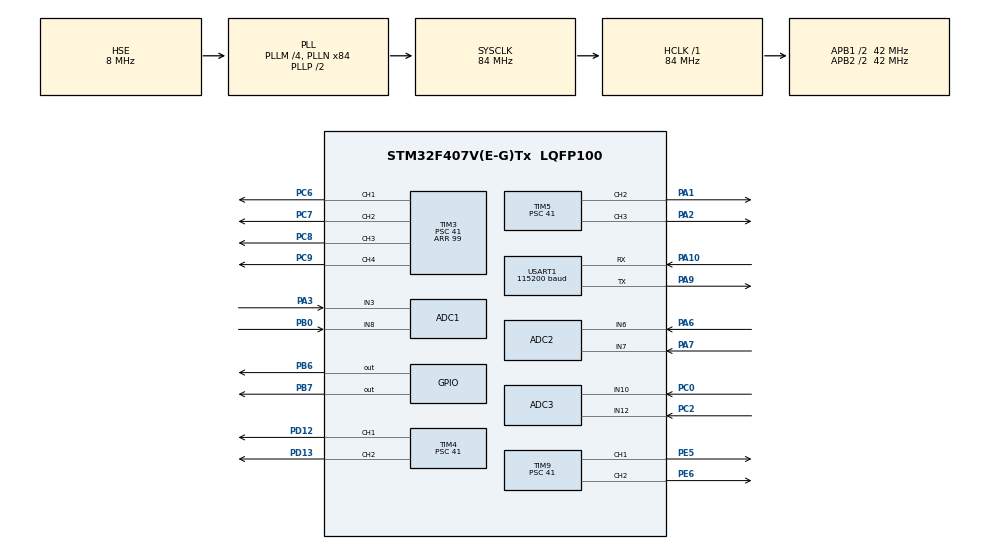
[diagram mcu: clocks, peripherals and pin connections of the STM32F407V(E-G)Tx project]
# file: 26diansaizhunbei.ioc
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ADC1.Channel-0\#ChannelRegularConversion=ADC_CHANNEL_8
ADC1.Channel-1\#ChannelRegularConversion=ADC_CHANNEL_3
ADC1.Channel-2\#ChannelRegularConversion=ADC_CHANNEL_VREFINT
ADC1.DMAContinuousRequests=ENABLE
ADC1.ExternalTrigConv=ADC_EXTERNALTRIGCONV_T2_TRGO
ADC1.InjNumberOfConversion=0
ADC1.NbrOfConversion=3
ADC1.NbrOfConversionFlag=1
ADC1.Rank-0\#ChannelRegularConversion=1
ADC1.Rank-1\#ChannelRegularConversion=2
ADC1.Rank-2\#ChannelRegularConversion=3
ADC1.SamplingTime-0\#ChannelRegularConversion=ADC_SAMPLETIME_15CYCLES
ADC1.SamplingTime-1\#ChannelRegularConversion=ADC_SAMPLETIME_15CYCLES
ADC1.SamplingTime-2\#ChannelRegularConversion=ADC_SAMPLETIME_480CYCLES
ADC1.master=1
ADC2.Channel-0\#ChannelRegularConversion=ADC_CHANNEL_7
ADC2.Channel-1\#ChannelRegularConversion=ADC_CHANNEL_6
ADC2.DMAContinuousRequests=ENABLE
ADC2.ExternalTrigConv=ADC_EXTERNALTRIGCONV_T2_TRGO
ADC2.NbrOfConversion=2
ADC2.NbrOfConversionFlag=1
ADC2.Rank-0\#ChannelRegularConversion=1
ADC2.Rank-1\#ChannelRegularConversion=2
ADC2.SamplingTime-0\#ChannelRegularConversion=ADC_SAMPLETIME_15CYCLES
ADC2.SamplingTime-1\#ChannelRegularConversion=ADC_SAMPLETIME_15CYCLES
ADC3.Channel-0\#ChannelRegularConversion=ADC_CHANNEL_10
ADC3.Channel-1\#ChannelRegularConversion=ADC_CHANNEL_12
ADC3.DMAContinuousRequests=ENABLE
ADC3.ExternalTrigConv=ADC_EXTERNALTRIGCONV_T2_TRGO
ADC3.NbrOfConversion=2
ADC3.NbrOfConversionFlag=1
ADC3.Rank-0\#ChannelRegularConversion=1
ADC3.Rank-1\#ChannelRegularConversion=2
ADC3.SamplingTime-0\#ChannelRegularConversion=ADC_SAMPLETIME_15CYCLES
ADC3.SamplingTime-1\#ChannelRegularConversion=ADC_SAMPLETIME_3CYCLES
Dma.ADC1.0.Direction=DMA_PERIPH_TO_MEMORY
Dma.ADC1.0.FIFOMode=DMA_FIFOMODE_DISABLE
Dma.ADC1.0.Instance=DMA2_Stream0
Dma.ADC1.0.MemDataAlignment=DMA_MDATAALIGN_HALFWORD
Dma.ADC1.0.MemInc=DMA_MINC_ENABLE
Dma.ADC1.0.Mode=DMA_CIRCULAR
Dma.ADC1.0.PeriphDataAlignment=DMA_PDATAALIGN_HALFWORD
Dma.ADC1.0.PeriphInc=DMA_PINC_DISABLE
Dma.ADC1.0.Priority=DMA_PRIORITY_LOW
Dma.ADC2.1.Direction=DMA_PERIPH_TO_MEMORY
Dma.ADC2.1.FIFOMode=DMA_FIFOMODE_DISABLE
Dma.ADC2.1.Instance=DMA2_Stream2
Dma.ADC2.1.MemDataAlignment=DMA_MDATAALIGN_HALFWORD
Dma.ADC2.1.MemInc=DMA_MINC_ENABLE
Dma.ADC2.1.Mode=DMA_CIRCULAR
Dma.ADC2.1.PeriphDataAlignment=DMA_PDATAALIGN_HALFWORD
Dma.ADC2.1.PeriphInc=DMA_PINC_DISABLE
Dma.ADC2.1.Priority=DMA_PRIORITY_LOW
Dma.ADC3.2.Direction=DMA_PERIPH_TO_MEMORY
Dma.ADC3.2.FIFOMode=DMA_FIFOMODE_DISABLE
Dma.ADC3.2.Instance=DMA2_Stream1
Dma.ADC3.2.MemDataAlignment=DMA_MDATAALIGN_HALFWORD
Dma.ADC3.2.MemInc=DMA_MINC_ENABLE
Dma.ADC3.2.Mode=DMA_CIRCULAR
Dma.ADC3.2.PeriphDataAlignment=DMA_PDATAALIGN_HALFWORD
Dma.ADC3.2.PeriphInc=DMA_PINC_DISABLE
Dma.ADC3.2.Priority=DMA_PRIORITY_LOW
Dma.Request0=ADC1
Dma.Request1=ADC2
Dma.Request2=ADC3
Mcu.Family=STM32F4
Mcu.Name=STM32F407V(E-G)Tx
Mcu.Package=LQFP100
NVIC.DMA2_Stream0_IRQn=true\:0\:0\:false\:false\:true\:false\:true\:true
NVIC.DMA2_Stream1_IRQn=true\:0\:0\:false\:false\:true\:false\:true\:true
NVIC.DMA2_Stream2_IRQn=true\:0\:0\:false\:false\:true\:false\:true\:true
NVIC.PriorityGroup=NVIC_PRIORITYGROUP_4
NVIC.TIM6_DAC_IRQn=true\:0\:0\:false\:false\:true\:true\:true\:true
NVIC.USART1_IRQn=true\:0\:0\:false\:false\:true\:true\:true\:true
PA1.Signal=S_TIM5_CH2
PA10.Mode=Asynchronous
PA10.Signal=USART1_RX
PA13.Mode=Serial_Wire
PA13.Signal=SYS_JTMS-SWDIO
PA14.Mode=Serial_Wire
PA14.Signal=SYS_JTCK-SWCLK
PA2.Signal=S_TIM5_CH3
PA3.Signal=ADCx_IN3
PA6.Signal=ADCx_IN6
PA7.Signal=ADCx_IN7
PA9.Mode=Asynchronous
PA9.Signal=USART1_TX
PB0.Signal=ADCx_IN8
PB14.Signal=S_TIM12_CH1
PB15.Signal=S_TIM12_CH2
PB6.GPIO_ModeDefaultOutputPP=GPIO_MODE_OUTPUT_OD
PB6.GPIO_PuPd=GPIO_NOPULL
PB6.Signal=GPIO_Output
PB7.GPIO_ModeDefaultOutputPP=GPIO_MODE_OUTPUT_OD
PB7.GPIO_PuPd=GPIO_NOPULL
PB7.Signal=GPIO_Output
PC0.Signal=ADCx_IN10
PC2.Signal=ADCx_IN12
PC6.Signal=S_TIM3_CH1
PC7.Signal=S_TIM3_CH2
PC8.Signal=S_TIM3_CH3
PC9.Signal=S_TIM3_CH4
PD12.Signal=S_TIM4_CH1
PD13.Signal=S_TIM4_CH2
PE5.Signal=S_TIM9_CH1
PE6.Signal=S_TIM9_CH2
PH0-OSC_IN.Mode=HSE-External-Oscillator
PH0-OSC_IN.Signal=RCC_OSC_IN
PH1-OSC_OUT.Mode=HSE-External-Oscillator
PH1-OSC_OUT.Signal=RCC_OSC_OUT
ProjectManager.HeapSize=0x200
ProjectManager.StackSize=0x400
ProjectManager.TargetToolchain=MDK-ARM V5.32
RCC.48MHZClocksFreq_Value=42000000
RCC.AHBFreq_Value=84000000
RCC.APB1CLKDivider=RCC_HCLK_DIV2
RCC.APB1Freq_Value=42000000
RCC.APB1TimFreq_Value=84000000
RCC.APB2CLKDivider=RCC_HCLK_DIV2
RCC.APB2Freq_Value=42000000
RCC.APB2TimFreq_Value=84000000
RCC.CortexFreq_Value=84000000
RCC.HCLKFreq_Value=84000000
RCC.HSE_VALUE=8000000
RCC.HSI_VALUE=16000000
RCC.LSE_VALUE=32768
RCC.PLLM=4
RCC.PLLN=84
RCC.PLLSourceVirtual=RCC_PLLSOURCE_HSE
RCC.SYSCLKFreq_VALUE=84000000
RCC.SYSCLKSource=RCC_SYSCLKSOURCE_PLLCLK
RCC.VCOOutputFreq_Value=168000000
SH.ADCx_IN10.0=ADC3_IN10,IN10
SH.ADCx_IN12.0=ADC3_IN12,IN12
SH.ADCx_IN3.0=ADC1_IN3,IN3
SH.ADCx_IN6.0=ADC2_IN6,IN6
SH.ADCx_IN7.0=ADC2_IN7,IN7
SH.ADCx_IN8.0=ADC1_IN8,IN8
SH.S_TIM12_CH1.0=TIM12_CH1
SH.S_TIM12_CH2.0=TIM12_CH2
SH.S_TIM3_CH1.0=TIM3_CH1,PWM Generation1 CH1
SH.S_TIM3_CH2.0=TIM3_CH2,PWM Generation2 CH2
SH.S_TIM3_CH3.0=TIM3_CH3,PWM Generation3 CH3
SH.S_TIM3_CH4.0=TIM3_CH4,PWM Generation4 CH4
SH.S_TIM4_CH1.0=TIM4_CH1,PWM Generation1 CH1
SH.S_TIM4_CH2.0=TIM4_CH2,PWM Generation2 CH2
SH.S_TIM5_CH2.0=TIM5_CH2,PWM Generation2 CH2
SH.S_TIM5_CH3.0=TIM5_CH3,PWM Generation3 CH3
SH.S_TIM9_CH1.0=TIM9_CH1,PWM Generation1 CH1
SH.S_TIM9_CH2.0=TIM9_CH2,PWM Generation2 CH2
TIM2.AutoReloadPreload=TIM_AUTORELOAD_PRELOAD_ENABLE
TIM2.Period=99
TIM2.Prescaler=41
TIM2.TIM_MasterOutputTrigger=TIM_TRGO_UPDATE
TIM3.AutoReloadPreload=TIM_AUTORELOAD_PRELOAD_ENABLE
TIM3.Channel-PWM\ Generation1\ CH1=TIM_CHANNEL_1
TIM3.Channel-PWM\ Generation2\ CH2=TIM_CHANNEL_2
TIM3.Channel-PWM\ Generation3\ CH3=TIM_CHANNEL_3
TIM3.Channel-PWM\ Generation4\ CH4=TIM_CHANNEL_4
TIM3.OCMode_PWM-PWM\ Generation2\ CH2=TIM_OCMODE_PWM2
TIM3.OCMode_PWM-PWM\ Generation4\ CH4=TIM_OCMODE_PWM2
TIM3.Period=99
TIM3.Prescaler=41
TIM4.AutoReloadPreload=TIM_AUTORELOAD_PRELOAD_ENABLE
TIM4.Channel-PWM\ Generation1\ CH1=TIM_CHANNEL_1
TIM4.Channel-PWM\ Generation2\ CH2=TIM_CHANNEL_2
TIM4.CounterMode=TIM_COUNTERMODE_CENTERALIGNED1
TIM4.OCMode_PWM-PWM\ Generation1\ CH1=TIM_OCMODE_PWM2
TIM4.OCMode_PWM-PWM\ Generation2\ CH2=TIM_OCMODE_PWM1
TIM4.Period=99
TIM4.Prescaler=41
TIM5.AutoReloadPreload=TIM_AUTORELOAD_PRELOAD_ENABLE
TIM5.Channel-PWM\ Generation2\ CH2=TIM_CHANNEL_2
TIM5.Channel-PWM\ Generation3\ CH3=TIM_CHANNEL_3
TIM5.CounterMode=TIM_COUNTERMODE_CENTERALIGNED1
TIM5.OCMode_PWM-PWM\ Generation2\ CH2=TIM_OCMODE_PWM2
TIM5.OCMode_PWM-PWM\ Generation3\ CH3=TIM_OCMODE_PWM1
TIM5.Period=99
TIM5.Prescaler=41
TIM6.Period=99
TIM6.Prescaler=41
TIM9.Channel-PWM\ Generation1\ CH1=TIM_CHANNEL_1
TIM9.Channel-PWM\ Generation2\ CH2=TIM_CHANNEL_2
TIM9.OCMode_PWM-PWM\ Generation2\ CH2=TIM_OCMODE_PWM2
TIM9.Period=99
TIM9.Prescaler=41
USART1.BaudRate=115200
USART1.VirtualMode=VM_ASYNC
VP_ADC1_Vref_Input.Mode=IN-Vrefint
VP_TIM2_VS_ClockSourceINT.Mode=Internal
VP_TIM3_VS_ClockSourceINT.Mode=Internal
VP_TIM4_VS_ClockSourceINT.Mode=Internal
VP_TIM5_VS_ClockSourceINT.Mode=Internal
VP_TIM6_VS_ClockSourceINT.Mode=Enable_Timer
VP_TIM9_VS_ClockSourceINT.Mode=Internal
board=custom

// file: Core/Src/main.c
/* USER CODE BEGIN Header */
/**
  ******************************************************************************
  * @file           : main.c
  * @brief          : Main program body
  ******************************************************************************
  * @attention
  *
  * Copyright (c) 2026 STMicroelectronics.
  * All rights reserved.
  *
  * This software is licensed under terms that can be found in the LICENSE file
  * in the root directory of this software component.
  * If no LICENSE file comes with this software, it is provided AS-IS.
  *
  ******************************************************************************
  */
/* USER CODE END Header */
#include "main.h"
#include "adc.h"
#include "dma.h"
#include "tim.h"
#include "usart.h"
#include "gpio.h"

/* USER CODE BEGIN Includes */
#include "app_pll.h"
#include "app_config.h"
#include "app_ThreePhase.h"
#include "app_pfc.h"
#include "app_signal.h"
#include "arm_math.h"
#include "stm32f4xx_ll_adc.h"
#include <stdio.h>
#include <string.h>
#include "OLED.h"
/* USER CODE END Includes */

/* USER CODE BEGIN PD */
// 以前：volatile uint16_t adc_buffer[1];
// 现在：必须能装下 3 个通道的数据！
/* ADC1: Ia, Va. ADC2: Ib, Vb. ADC3: Vdc. */
volatile uint16_t adc1_buffer[3];
volatile uint16_t adc2_buffer[2];
volatile uint16_t adc3_buffer[2];
float DC_BUS_SENSOR_SCALE = 1.0f;
float VOLTAGE_A_SCALE = 40.0f;
float VOLTAGE_B_SCALE = 40.0f;

#define ADC_REFERENCE_VOLTAGE 3.3f
#define ADC_FULL_SCALE         4095.0f
#define ADC_VREFINT_INDEX      2U
#define CURRENT_A_ADC_OFFSET   2020.7f
#define CURRENT_B_ADC_OFFSET   2047.5f
#define VOLTAGE_A_ADC_OFFSET   2048.0f
#define VOLTAGE_B_ADC_OFFSET   2048.0f
float VOLTAGE_SENSOR_SCALE = 1;// 硬件互感器的倍数,还原成220/311V
float CURRENT_SENSOR_SCALE = 1;// 硬件互感器的倍数,还原成真实的电流
float VOLTAGE_DC_SCALE = 1;// 硬件互感器的倍数,还原成真实的电压
float CURRENT_A_SCALE = 5;// 硬件互感器的倍数,还原成真实的电流
float CURRENT_B_SCALE = 5;// 硬件互感器的倍数,还原成真实的电流
float CURRENT_C_SCALE = 5;// 硬件互感器的倍数,还原成真实的电流

float ia_real, va_real, ib_real, vb_real, ic_real, vc_real = 0.0f;

/* PFC sensor raw values for OLED display */
volatile float pfc_ui_real  = 0.0f;
volatile float pfc_ii_real  = 0.0f;
volatile float pfc_vdc_real = 0.0f;

/* PFC input sensors: tune these independently from inverter-side sensors. */
float PFC_UI_ADC_OFFSET = 2047.5f;
float PFC_II_ADC_OFFSET = 2021.67f;
float PFC_UI_SENSOR_SCALE = 34.50f;
float PFC_II_SENSOR_SCALE = 4.6f;
volatile float adc_vdda = ADC_REFERENCE_VOLTAGE;
float PFC_VDC_SENSOR_SCALE = 27.0f;   //母线电压检测

/* USER CODE END PD */

/* USER CODE BEGIN PM */
static float theta_3ph = 0.0f;

#define THREE_PHASE_FREQ_HZ  60.0f
#define DQ_THETA_OFFSET      (-0.5f * PI_VALUE)
#define THREE_PHASE_STEP \
    (2.0f * PI_VALUE * THREE_PHASE_FREQ_HZ * CONTROL_SAMPLE_TIME)
/* USER CODE END PM */

/* USER CODE BEGIN PV */
APP_PLL_t System_PLL;
SPWM_t my_spwm;
DualLoop_t My_DualLoop;
RMS_t Vout_RMS;
APP_ThreePhase_t ThreePhase_Control;
APP_PFC_t Pfc_Control;
static volatile uint8_t adc_ready_mask;
static volatile uint8_t pfc_adc_ready_mask;
static APP_OffsetCal_t Pfc_Ui_OffsetCal;
static APP_OffsetCal_t Pfc_Ii_OffsetCal;
static APP_LowPass_t Pfc_Ui_Filter;
static APP_LowPass_t Pfc_Ii_Filter;
static APP_LowPass_t Pfc_Vdc_Filter;
static uint8_t  pfc_adc_calibration_done;
static uint32_t pfc_startup_settle_count;  /* 上电后跳过前 N 次采样，等模拟前端稳定 */
#if PFC_SIMULATION_ENABLE == 1
static volatile float pfc_sim_ui;
static volatile float pfc_sim_ii;
static volatile float pfc_sim_error;
static volatile uint8_t pfc_sim_print_ready;
#endif

/* USER CODE END PV */

void SystemClock_Config(void);
/* USER CODE BEGIN PFP */
int __io_putchar(int ch)
{
  HAL_UART_Transmit(&huart1, (uint8_t *)&ch, 1U, HAL_MAX_DELAY);
  return ch;
}

int fputc(int ch, FILE *f)
{
  (void)f;
  return __io_putchar(ch);
}
/* USER CODE END PFP */

/* USER CODE BEGIN 0 */

static void ADC_UpdateVdda(void)
{
  uint32_t vrefint_raw = adc1_buffer[ADC_VREFINT_INDEX];

  if (vrefint_raw != 0U)
  {
    float new_vdda = (float)__LL_ADC_CALC_VREFANALOG_VOLTAGE(
                         vrefint_raw,
                         LL_ADC_RESOLUTION_12B) / 1000.0f;

    if ((new_vdda > 2.7f) && (new_vdda < 3.6f))
    {
      adc_vdda = adc_vdda * 0.95f + new_vdda * 0.05f;
    }
  }
}

/* USER CODE END 0 */

int main(void)
{

  /* MCU Configuration--------------------------------------------------------*/

  /* Reset of all peripherals, Initializes the Flash interface and the Systick. */
  HAL_Init();

  /* Configure the system clock */
  SystemClock_Config();

  /* Initialize all configured peripherals */
  MX_GPIO_Init();
  MX_DMA_Init();
  MX_ADC1_Init();
  MX_TIM6_Init();
  MX_USART1_UART_Init();
  MX_TIM2_Init();
  MX_TIM3_Init();
  MX_TIM9_Init();
  MX_ADC2_Init();
  MX_ADC3_Init();
  MX_TIM4_Init();
  MX_TIM5_Init();
  /* USER CODE BEGIN 2 */
	//10kHz
	APP_PLL_Init(&System_PLL, CONTROL_SAMPLE_TIME);
  SPWM_Init(&my_spwm,100);
	DualLoop_Init(&My_DualLoop, CONTROL_SAMPLE_TIME);
  RMS_Init(&Vout_RMS);
  APP_ThreePhase_Init(&ThreePhase_Control, &my_spwm);
  APP_PFC_Init(&Pfc_Control);
  APP_PFC_SetPwmEnable(&Pfc_Control, 0U);
  APP_OffsetCal_Init(&Pfc_Ui_OffsetCal,
                     PFC_OFFSET_CAL_SAMPLES, PFC_UI_ADC_OFFSET);
  APP_OffsetCal_Init(&Pfc_Ii_OffsetCal,
                     PFC_OFFSET_CAL_SAMPLES, PFC_II_ADC_OFFSET);
  APP_LowPass_Init(&Pfc_Ui_Filter,
                   CONTROL_SAMPLE_TIME, PFC_UI_LPF_CUTOFF_HZ);
  APP_LowPass_Init(&Pfc_Ii_Filter,
                   CONTROL_SAMPLE_TIME, PFC_II_LPF_CUTOFF_HZ);
  APP_LowPass_Init(&Pfc_Vdc_Filter,
                   CONTROL_SAMPLE_TIME, PFC_VDC_LPF_CUTOFF_HZ);
  PR_Init(&My_DualLoop.Current_PR,
          0.1f, 10.0f,
          50.0f, 5.0f, CONTROL_SAMPLE_TIME,
          0.98f, -0.98f);
  //PR_Init(PR_Controller_t *pr, float kp, float kr, float target_freq_hz, float bandwidth_hz, float sample_time, float max_out, float min_out)

//接口函数声明
  TIM3->CCR1 = 50;
  TIM3->CCR2 = 50;
  TIM3->CCR3 = 50;
  TIM3->CCR4 = 50;
  TIM9->CCR1 = 50;
  TIM9->CCR2 = 50;
  TIM4->CCR1 = 50 + PFC_SOFTWARE_DEADTIME_COUNTS;
  TIM4->CCR2 = 50;
  TIM5->CCR2 = 50 + PFC_SOFTWARE_DEADTIME_COUNTS;
  TIM5->CCR3 = 50;

	HAL_ADC_Start_DMA(&hadc1, (uint32_t *)adc1_buffer, 3);
	HAL_ADC_Start_DMA(&hadc2, (uint32_t *)adc2_buffer, 2);
	HAL_ADC_Start_DMA(&hadc3, (uint32_t *)adc3_buffer, 2);
  HAL_TIM_Base_Start(&htim3);
  HAL_TIM_Base_Start(&htim9);
  HAL_TIM_Base_Start(&htim5);
  HAL_TIM_Base_Start(&htim4);
  HAL_TIM_PWM_Start(&htim3, TIM_CHANNEL_1);
  HAL_TIM_PWM_Start(&htim3, TIM_CHANNEL_2);
  HAL_TIM_PWM_Start(&htim3, TIM_CHANNEL_3);
  HAL_TIM_PWM_Start(&htim3, TIM_CHANNEL_4);
  HAL_TIM_PWM_Start(&htim9, TIM_CHANNEL_1);
  HAL_TIM_PWM_Start(&htim9, TIM_CHANNEL_2);
#if PFC_PWM_TEST_ENABLE == 1
  HAL_TIM_PWM_Start(&htim4, TIM_CHANNEL_1);
  HAL_TIM_PWM_Start(&htim4, TIM_CHANNEL_2);
  HAL_TIM_PWM_Start(&htim5, TIM_CHANNEL_2);
  HAL_TIM_PWM_Start(&htim5, TIM_CHANNEL_3);
#endif

  HAL_TIM_Base_Start_IT(&htim2);
  HAL_TIM_Base_Start_IT(&htim6);
  OLED_Init();
  OLED_Clear();
  OLED_Update();
  /* USER CODE END 2 */

  /* Infinite loop */
  /* USER CODE BEGIN WHILE */
  while (1)
  {
    /* ---- OLED 刷新 (10Hz，避免 I2C 阻塞主循环) ----
    {
      static uint32_t oled_last_tick = 0;
      uint32_t now = HAL_GetTick();

      if (now - oled_last_tick >= 100U) {
        oled_last_tick = now;

        if (pfc_adc_calibration_done == 0U) {
          OLED_Printf(0, 0, OLED_8X16, "PFC Calibrating...");
          OLED_Printf(0, 16, OLED_8X16, "Ui offset:%4.0f",
                      (double)Pfc_Ui_OffsetCal.Offset);
          OLED_Printf(0, 32, OLED_8X16, "Ii offset:%4.0f",
                      (double)Pfc_Ii_OffsetCal.Offset);
        } else {
          OLED_Printf(0, 0, OLED_8X16, "Ui:%.1fV", (double)pfc_ui_real);
          OLED_Printf(0, 16, OLED_8X16, "Ii:%.2fA", (double)pfc_ii_real);
          OLED_Printf(0, 32, OLED_8X16, "Vdc:%.1fV", (double)pfc_vdc_real);
        }
        OLED_Update();
      }
    }
    */

    /* ---- 串口打印: Ui, Iref, cos_theta, theta, Q, delta_omega, Freq (1ms) ----
       列1 Ui          : 电网电压
       列2 Iref        : 电流参考 (应为正弦波)
       列3 cos_theta   : cos(PLL.theta) (应为正弦波, 幅值1)
       列4 theta       : PLL.theta (应线性增长 0→2π 循环)
       列5 park.Q      : Park变换Q轴分量 (锁相后应≈0)
       列6 delta_omega : PI输出角速度补偿 (未饱和时应≈0)
       列7 Freq        : PLL实时频率 (应≈50Hz)

       诊断:
       - 列4 theta 如果不增长 → PLL角度积分有问题
       - 列3 cos_theta 如果是常数 → theta 没转或转速极慢
       - 列5 Q 如果很大 → PLL没锁住
       - 列6 如果饱和在±50 → PI参数/信号有问题 */
    {
#if PFC_SIMULATION_ENABLE == 1
      if (pfc_sim_print_ready != 0U) {
        pfc_sim_print_ready = 0U;
        printf("%.3f,%.3f,%.3f,%.3f,%.3f,%.3f\r\n",
               (double)pfc_sim_ui,
               (double)pfc_sim_ii,
               (double)Pfc_Control.Debug_Iref,
               (double)pfc_sim_error,
               (double)Pfc_Control.Debug_Current_Control,
               (double)Pfc_Control.Debug_Modulation);
      }
#else

       printf("%.4f,%.4f,%.4f,%.4f,%.4f,%.4f\r\n",
              (double)pfc_ui_real,
              (double)pfc_ii_real,
							(double)pfc_vdc_real,
              (double)Pfc_Control.Debug_Iref,
              (double)Pfc_Control.Debug_Current_Control,
              (double)Pfc_Control.Debug_Modulation
             );

//			        printf("%.4f,%.4f\r\n",
//              (double)pfc_ui_real,
//              (double)pfc_ii_real
//             );

			// printf("%.3f,%d,%d,%d\r\n",
      //  (double)theta_3ph,
      //  my_spwm.CCR1_Value,
      //  my_spwm.CCR2_Value,
      //  my_spwm.CCR3_Value);

#endif
    }

    /* USER CODE END WHILE */

  }
}

void SystemClock_Config(void)
{
  RCC_OscInitTypeDef RCC_OscInitStruct = {0};
  RCC_ClkInitTypeDef RCC_ClkInitStruct = {0};

  /** Configure the main internal regulator output voltage
  */
  __HAL_RCC_PWR_CLK_ENABLE();
  __HAL_PWR_VOLTAGESCALING_CONFIG(PWR_REGULATOR_VOLTAGE_SCALE1);

  /** Initializes the RCC Oscillators according to the specified parameters
  * in the RCC_OscInitTypeDef structure.
  */
  RCC_OscInitStruct.OscillatorType = RCC_OSCILLATORTYPE_HSE;
  RCC_OscInitStruct.HSEState = RCC_HSE_ON;
  RCC_OscInitStruct.PLL.PLLState = RCC_PLL_ON;
  RCC_OscInitStruct.PLL.PLLSource = RCC_PLLSOURCE_HSE;
  RCC_OscInitStruct.PLL.PLLM = 4;
  RCC_OscInitStruct.PLL.PLLN = 84;
  RCC_OscInitStruct.PLL.PLLP = RCC_PLLP_DIV2;
  RCC_OscInitStruct.PLL.PLLQ = 4;
  if (HAL_RCC_OscConfig(&RCC_OscInitStruct) != HAL_OK)
  {
    Error_Handler();
  }

  /** Initializes the CPU, AHB and APB buses clocks
  */
  RCC_ClkInitStruct.ClockType = RCC_CLOCKTYPE_HCLK|RCC_CLOCKTYPE_SYSCLK
                              |RCC_CLOCKTYPE_PCLK1|RCC_CLOCKTYPE_PCLK2;
  RCC_ClkInitStruct.SYSCLKSource = RCC_SYSCLKSOURCE_PLLCLK;
  RCC_ClkInitStruct.AHBCLKDivider = RCC_SYSCLK_DIV1;
  RCC_ClkInitStruct.APB1CLKDivider = RCC_HCLK_DIV2;
  RCC_ClkInitStruct.APB2CLKDivider = RCC_HCLK_DIV2;

  if (HAL_RCC_ClockConfig(&RCC_ClkInitStruct, FLASH_LATENCY_2) != HAL_OK)
  {
    Error_Handler();
  }
}

/* USER CODE BEGIN 4 */
#if PLL_USE == 1
// 在 HAL 库的 DMA 转换完成回调函数中
void HAL_ADC_ConvCpltCallback(ADC_HandleTypeDef* hadc) {
    if (hadc->Instance == ADC1) {
        HAL_GPIO_TogglePin(GPIOE, GPIO_PIN_5); // 仅作为示例，指示 ADC 转换完成
        // ==========================================================
        // 1. 数据采集与物理量还原 (ADC Buffer -> 真实的 V / A)
        // ==========================================================
        // 假设通道顺序配置为：CH0(电网电压), CH1(输出电压), CH2(输出电流)

        // 提取电网电压 (给 PLL 用来追相位)
        float v_grid_pin = ((float)adc_buffer[0] - 2048.0f) * (3.3f / 4096.0f);
        float v_grid_real = v_grid_pin * VOLTAGE_SENSOR_SCALE; // 乘以硬件互感器的倍数，还原成真实的 220V/311V

        // 提取逆变器实际输出电压 (给电压外环用)
        float v_out_pin = ((float)adc_buffer[1] - 2048.0f) * (3.3f / 4096.0f);
        float v_out_real = v_out_pin * VOLTAGE_SENSOR_SCALE;

        // 提取逆变器实际输出电流 (给电流内环用)
        float i_out_pin = ((float)adc_buffer[2] - 2048.0f) * (3.3f / 4096.0f);
        float i_out_real = i_out_pin * CURRENT_SENSOR_SCALE;
        APP_PLL_Update(&System_PLL, v_grid_real);

			  #if USE_MODE == 1

				float v_ref = 311.0f * arm_sin_f32(System_PLL.theta);//求瞬时电压值

				float control = PI_Update(&My_DualLoop.Voltage_PI, v_ref, v_out_real);

				SPWM_Update_ByControl(&my_spwm, control);

				#endif

				#if USE_MODE == 2

				float v_out_rms = RMS_Update(&Vout_RMS, v_out_real);

				float i_amp_ref = PI_Update(&My_DualLoop.Voltage_PI, 220.0f, v_out_rms);

				float i_ref = i_amp_ref * arm_sin_f32(System_PLL.theta);

				float control = PR_Update(&My_DualLoop.Current_PR, i_ref, i_out_real);

				SPWM_Update_ByControl(&my_spwm, control);

				#endif
//        // ==========================================================
//        // 2. 算法处理：节拍器 (PLL)
//        // ==========================================================
//        // 算出此刻电网的绝对相位 (System_PLL.theta)
//        APP_PLL_Update(&System_PLL, v_grid_real);

//        // ==========================================================
//        // 3. 算法处理：能量泵 (电压电流双环)
//        // ==========================================================
//        // 假设我们要让系统死死稳住输出 220.0V (这里的220.0f是目标值)
//        // 丢入真实的输出电压和电流，双环 PI 拼命计算，吐出最新的调制比！
//        float dynamic_amplitude = DualLoop_Update(&My_DualLoop, 220.0f, v_out_real, i_out_real);

//        // ==========================================================
//        // 4. 算法融合：数学造波 (SPWM)
//        // ==========================================================
//        // 🚨 修正了你刚才代码里的 0.8f 漏洞！
//        // 把 PLL 算出的节拍 (theta) 和双环算出的能量 (dynamic_amplitude) 乘在一起！
//        SPWM_Update(&my_spwm, System_PLL.theta, dynamic_amplitude);

        // ==========================================================
        // 5. 硬件执行：推给寄存器，指挥 MOSFET 斩波
        // ==========================================================
        // TIM1_CH1 和 TIM1_CH2 互补输出控制全桥
        TIM1->CCR1 = my_spwm.CCR1_Value;
        TIM1->CCR2 = my_spwm.CCR2_Value;
    }
}
#endif

#if KAI_HUAN_SAN_XIANG == 1
void HAL_TIM_PeriodElapsedCallback(TIM_HandleTypeDef *htim)
{
#if SVPWM_USE == 1
    float sin_theta;
    float cos_theta;
    float v_phase_peak_cmd;
    const float vdc_real = 60.0f;
#endif

    if (htim->Instance != TIM6) {
        return;
    }

    theta_3ph += THREE_PHASE_STEP;

    if (theta_3ph >= 2.0f * PI_VALUE) {
        theta_3ph -= 2.0f * PI_VALUE;
    }

#if SPWM_USE == 1

    SPWM_ThreePhase_Update(&my_spwm, theta_3ph, 0.87055f);

#elif SVPWM_USE == 1

    arm_sin_cos_f32(theta_3ph * 180.0f / PI_VALUE,
                    &sin_theta,
                    &cos_theta);

    v_phase_peak_cmd = 32.20f * 0.81649658f;

    SVPWM_Update(&my_spwm,
                 v_phase_peak_cmd * sin_theta,
                -v_phase_peak_cmd * cos_theta,
                 vdc_real);

#else
#error "Select either SPWM_USE or SVPWM_USE"
#endif

    TIM3->CCR1 = my_spwm.CCR1_Value;
    TIM3->CCR2 = my_spwm.CCR1_Value;

    TIM3->CCR3 = my_spwm.CCR2_Value;
    TIM3->CCR4 = my_spwm.CCR2_Value;

    TIM9->CCR1 = my_spwm.CCR3_Value;
    TIM9->CCR2 = my_spwm.CCR3_Value;
}
#endif

/* Three-phase closed-loop code moved to APP/app_ThreePhase.c. */
#if BI_HUAN_SAN_XIANG == 1
void HAL_ADC_ConvCpltCallback(ADC_HandleTypeDef* hadc)
{
    if (hadc->Instance == ADC1) {
        adc_ready_mask |= 0x01U;
    } else if (hadc->Instance == ADC2) {
        adc_ready_mask |= 0x02U;
    } else if (hadc->Instance == ADC3) {
        adc_ready_mask |= 0x04U;
    } else {
        return;
    }

    if (adc_ready_mask == 0x07U) {
        adc_ready_mask = 0U;
           //测试
            ia_real = ((float)adc1_buffer[0] - CURRENT_A_ADC_OFFSET) *
                (ADC_REFERENCE_VOLTAGE / ADC_FULL_SCALE) * CURRENT_A_SCALE;
            ib_real = ((float)adc2_buffer[0] - CURRENT_B_ADC_OFFSET) *
                (ADC_REFERENCE_VOLTAGE / ADC_FULL_SCALE) * CURRENT_B_SCALE;
            va_real = ((float)adc1_buffer[1] - VOLTAGE_A_ADC_OFFSET) *
                (ADC_REFERENCE_VOLTAGE / ADC_FULL_SCALE) * VOLTAGE_A_SCALE;
            vb_real = ((float)adc2_buffer[1] - VOLTAGE_B_ADC_OFFSET) *
                (ADC_REFERENCE_VOLTAGE / ADC_FULL_SCALE) * VOLTAGE_B_SCALE;
        /*
        //三相电
        APP_ThreePhase_Update(
            &ThreePhase_Control,
            (float)adc3_buffer[0] *
                (ADC_REFERENCE_VOLTAGE / ADC_FULL_SCALE) * DC_BUS_SENSOR_SCALE,
            ((float)adc1_buffer[0] - CURRENT_A_ADC_OFFSET) *
                (ADC_REFERENCE_VOLTAGE / ADC_FULL_SCALE) * CURRENT_A_SCALE,
            ((float)adc2_buffer[0] - CURRENT_B_ADC_OFFSET) *
                (ADC_REFERENCE_VOLTAGE / ADC_FULL_SCALE) * CURRENT_B_SCALE,
            ((float)adc1_buffer[1] - VOLTAGE_A_ADC_OFFSET) *
                (ADC_REFERENCE_VOLTAGE / ADC_FULL_SCALE) * VOLTAGE_A_SCALE,
            ((float)adc2_buffer[1] - VOLTAGE_B_ADC_OFFSET) *
                (ADC_REFERENCE_VOLTAGE / ADC_FULL_SCALE) * VOLTAGE_B_SCALE);
                */
    }
}

void HAL_TIM_PeriodElapsedCallback(TIM_HandleTypeDef *htim)
{
    if (htim->Instance == TIM6) {
        //APP_ThreePhase_TimerTick(&ThreePhase_Control);
    }
}
#endif

#if PFC_USE == 1
#if (PLL_USE == 1) || (BI_HUAN_SAN_XIANG == 1)
#error "PFC_USE cannot share HAL_ADC_ConvCpltCallback with PLL or three-phase closed loop"
#endif
void HAL_ADC_ConvCpltCallback(ADC_HandleTypeDef* hadc)
{
#if PFC_SIMULATION_ENABLE == 0
    if (hadc->Instance == ADC1) {
        pfc_adc_ready_mask |= 0x01U;
    } else if (hadc->Instance == ADC2) {
        pfc_adc_ready_mask |= 0x02U;
    } else {
        return;
    }

    if (pfc_adc_ready_mask == 0x03U) {
        float ui_real;
        float ii_real;
        float vdc_real;

        pfc_adc_ready_mask = 0U;

        ADC_UpdateVdda();

        /* ---- 上电稳定延时：跳过前 5000 次采样 (~250ms) ----
         * ADC 基准电压、运放偏置、传感器供电需要时间建立，
         * 这段时间的采样值不可靠，不能用来做偏移校准。 */
#if PFC_AUTO_OFFSET_CAL_ENABLE == 1
        if (pfc_startup_settle_count < 5000U) {
            pfc_startup_settle_count++;
            return;
        }

        if (pfc_adc_calibration_done == 0U) {
            uint8_t ui_ready;
            uint8_t ii_ready;

            ui_ready = APP_OffsetCal_Update(&Pfc_Ui_OffsetCal,
                                             (float)adc1_buffer[0]);
            ii_ready = APP_OffsetCal_Update(&Pfc_Ii_OffsetCal,
                                             (float)adc1_buffer[1]);
            if ((ui_ready != 0U) && (ii_ready != 0U)) {
                PFC_UI_ADC_OFFSET = Pfc_Ui_OffsetCal.Offset;
                PFC_II_ADC_OFFSET = Pfc_Ii_OffsetCal.Offset;
                pfc_adc_calibration_done = 1U;

                ui_real = ((float)adc1_buffer[0] - PFC_UI_ADC_OFFSET) *
                          (adc_vdda / ADC_FULL_SCALE) *
                          PFC_UI_SENSOR_SCALE;
                ii_real = (PFC_II_ADC_OFFSET - (float)adc1_buffer[1]) *
                          (adc_vdda / ADC_FULL_SCALE) *
                          PFC_II_SENSOR_SCALE;
                vdc_real = (float)adc2_buffer[0] *
                           (adc_vdda / ADC_FULL_SCALE) *
                           PFC_VDC_SENSOR_SCALE;
                APP_PFC_CheckOverVoltage(&Pfc_Control, vdc_real);
                APP_LowPass_Reset(&Pfc_Ui_Filter, ui_real);
                APP_LowPass_Reset(&Pfc_Ii_Filter, ii_real);
                APP_LowPass_Reset(&Pfc_Vdc_Filter, vdc_real);
                APP_PFC_SetPwmEnable(&Pfc_Control, PFC_PWM_ENABLE);
            }
            return;
        }

#endif
        ui_real = ((float)adc1_buffer[0] - PFC_UI_ADC_OFFSET) *
                  (adc_vdda / ADC_FULL_SCALE) *
                  PFC_UI_SENSOR_SCALE;
        ii_real = (-PFC_II_ADC_OFFSET + (float)adc1_buffer[1]) *
                  (adc_vdda / ADC_FULL_SCALE) *
                  PFC_II_SENSOR_SCALE;
        vdc_real = (float)adc2_buffer[0] *
                   (adc_vdda / ADC_FULL_SCALE) *
                   PFC_VDC_SENSOR_SCALE;
        APP_PFC_CheckOverVoltage(&Pfc_Control, vdc_real);

        /* 保存原始值供主循环 OLED 显示 */
        pfc_ui_real  = ui_real;
        pfc_ii_real  = ii_real;
        pfc_vdc_real = vdc_real;

        APP_PFC_Update(
            &Pfc_Control,
            APP_LowPass_Update(&Pfc_Ui_Filter, ui_real),
            APP_LowPass_Update(&Pfc_Ii_Filter, ii_real),
            APP_LowPass_Update(&Pfc_Vdc_Filter, vdc_real));
    }
#else
    (void)hadc;
#endif
}
#if PFC_SIMULATION_ENABLE == 1
void HAL_TIM_PeriodElapsedCallback(TIM_HandleTypeDef *htim)
{
    static float pfc_sim_theta;
    static uint32_t pfc_sim_print_counter;
    float ui_sim;
    float ii_real;

    if (htim->Instance != TIM6) {
        return;
    }

    pfc_sim_theta += 2.0f * PI_VALUE * PFC_SIM_GRID_FREQ_HZ *
                     CONTROL_SAMPLE_TIME;
    if (pfc_sim_theta >= 2.0f * PI_VALUE) {
        pfc_sim_theta -= 2.0f * PI_VALUE;
    }

    ui_sim = PFC_SIM_UI_PEAK * arm_sin_f32(pfc_sim_theta);
    ADC_UpdateVdda();
    ii_real = (PFC_II_ADC_OFFSET - (float)adc1_buffer[1]) *
              (adc_vdda / ADC_FULL_SCALE) * PFC_II_SENSOR_SCALE;

    pfc_ui_real = ui_sim;
    pfc_ii_real = ii_real;
    pfc_vdc_real = PFC_SIM_VDC;

    APP_PFC_Update(&Pfc_Control,
                   ui_sim,
                   APP_LowPass_Update(&Pfc_Ii_Filter, ii_real),
                   PFC_SIM_VDC);

    if (++pfc_sim_print_counter >= PFC_SIM_PRINT_DIVIDER) {
        pfc_sim_print_counter = 0U;
        pfc_sim_ui = ui_sim;
        pfc_sim_ii = Pfc_Control.Debug_Ii;
        pfc_sim_error = Pfc_Control.Debug_Iref - Pfc_Control.Debug_Ii;
        pfc_sim_print_ready = 1U;
    }
}
#endif
#endif

/* USER CODE END 4 */

void Error_Handler(void)
{
  __disable_irq();
  while (1)
  {
  }
}
